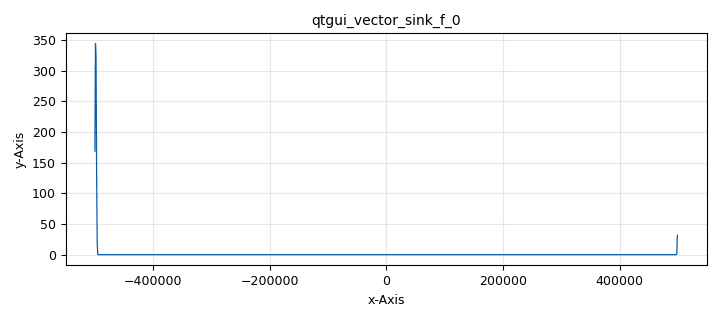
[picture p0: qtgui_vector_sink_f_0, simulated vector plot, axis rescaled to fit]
<?xml version='1.0' encoding='utf-8'?>
<?grc format='1' created='3.7.11'?>
<flow_graph>
<block>
<key>options</key>
<param><key>id</key><value>top_block</value></param>
<param><key>generate_options</key><value>qt_gui</value></param>
</block>
<block>
<key>variable</key>
<param><key>id</key><value>N</value></param>
<param><key>value</key><value>128</value></param>
</block>
<block>
<key>variable</key>
<param><key>id</key><value>f</value></param>
<param><key>value</key><value>1378</value></param>
</block>
<block>
<key>variable</key>
<param><key>id</key><value>fft_size</value></param>
<param><key>value</key><value>1024*1</value></param>
</block>
<block>
<key>variable</key>
<param><key>id</key><value>samp_rate</value></param>
<param><key>value</key><value>1e6</value></param>
</block>
<block>
<key>analog_sig_source_x</key>
<param><key>id</key><value>analog_sig_source_x_0</value></param>
<param><key>amp</key><value>1</value></param>
<param><key>freq</key><value>f</value></param>
<param><key>offset</key><value>0</value></param>
<param><key>type</key><value>complex</value></param>
<param><key>samp_rate</key><value>samp_rate</value></param>
<param><key>waveform</key><value>analog.GR_COS_WAVE</value></param>
</block>
<block>
<key>audio_sink</key>
<param><key>id</key><value>audio_sink_0</value></param>
<param><key>num_inputs</key><value>2</value></param>
<param><key>samp_rate</key><value>44100</value></param>
</block>
<block>
<key>blocks_complex_to_float</key>
<param><key>id</key><value>blocks_complex_to_float_0</value></param>
</block>
<block>
<key>blocks_complex_to_mag</key>
<param><key>id</key><value>blocks_complex_to_mag_0</value></param>
<param><key>vlen</key><value>fft_size</value></param>
</block>
<block>
<key>blocks_stream_to_vector</key>
<param><key>id</key><value>blocks_stream_to_vector_0</value></param>
<param><key>type</key><value>complex</value></param>
<param><key>num_items</key><value>fft_size</value></param>
</block>
<block>
<key>fft_vxx</key>
<param><key>id</key><value>fft_vxx_0</value></param>
<param><key>fft_size</key><value>fft_size</value></param>
<param><key>forward</key><value>True</value></param>
<param><key>type</key><value>complex</value></param>
<param><key>shift</key><value>False</value></param>
<param><key>window</key><value>window.blackmanharris(fft_size)</value></param>
</block>
<block>
<key>qtgui_vector_sink_f</key>
<param><key>id</key><value>qtgui_vector_sink_f_0</value></param>
<param><key>showports</key><value>True</value></param>
<param><key>vlen</key><value>fft_size</value></param>
<param><key>x_start</key><value>-samp_rate/2</value></param>
<param><key>x_step</key><value>samp_rate/fft_size</value></param>
<param><key>ymax</key><value>100</value></param>
<param><key>ymin</key><value>0</value></param>
</block>
<block>
<key>rational_resampler_xxx</key>
<param><key>id</key><value>rational_resampler_xxx_0</value></param>
<param><key>decim</key><value>1</value></param>
<param><key>interp</key><value>1</value></param>
<param><key>taps</key><value></value></param>
<param><key>type</key><value>fff</value></param>
</block>
<connection><source_block_id>analog_sig_source_x_0</source_block_id><sink_block_id>blocks_complex_to_float_0</sink_block_id><source_key>0</source_key><sink_key>0</sink_key></connection>
<connection><source_block_id>analog_sig_source_x_0</source_block_id><sink_block_id>blocks_stream_to_vector_0</sink_block_id><source_key>0</source_key><sink_key>0</sink_key></connection>
<connection><source_block_id>blocks_complex_to_float_0</source_block_id><sink_block_id>audio_sink_0</sink_block_id><source_key>1</source_key><sink_key>1</sink_key></connection>
<connection><source_block_id>blocks_complex_to_float_0</source_block_id><sink_block_id>rational_resampler_xxx_0</sink_block_id><source_key>0</source_key><sink_key>0</sink_key></connection>
<connection><source_block_id>blocks_complex_to_mag_0</source_block_id><sink_block_id>qtgui_vector_sink_f_0</sink_block_id><source_key>0</source_key><sink_key>0</sink_key></connection>
<connection><source_block_id>blocks_stream_to_vector_0</source_block_id><sink_block_id>fft_vxx_0</sink_block_id><source_key>0</source_key><sink_key>0</sink_key></connection>
<connection><source_block_id>fft_vxx_0</source_block_id><sink_block_id>blocks_complex_to_mag_0</sink_block_id><source_key>0</source_key><sink_key>0</sink_key></connection>
<connection><source_block_id>rational_resampler_xxx_0</source_block_id><sink_block_id>audio_sink_0</sink_block_id><source_key>0</source_key><sink_key>0</sink_key></connection>
</flow_graph>
